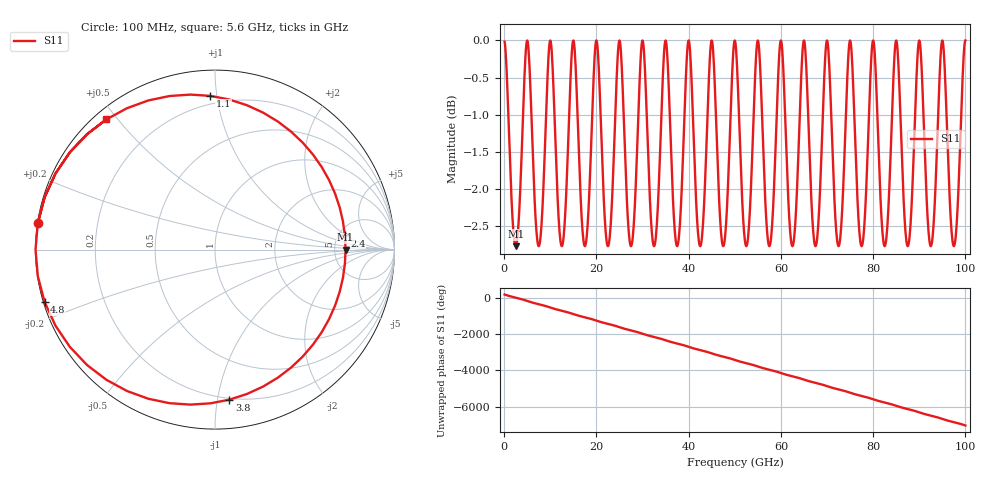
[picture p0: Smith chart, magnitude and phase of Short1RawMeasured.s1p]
! File created by SignalIntegrity v1.1.4: Signal and Power Integrity Tools
! https://github.com/TeledyneLeCroy/SignalIntegrity
# MHz MA S R 50.0
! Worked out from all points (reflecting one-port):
!   1000 points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, 100 MHz to 100 GHz, reference 50 ohm
!   lowest |S11| = -2.8 dB at 2.5 GHz (marker M1), VSWR 6.33, Z = 317 + j0 ohm
!   phase of S11 starts at 171 deg and turns -7191 deg over the sweep
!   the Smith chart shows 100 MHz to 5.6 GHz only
!   S11 on the Smith chart (normalised r, x): 100 MHz: 0.00, +0.07; 1.1 GHz: 0.15, +0.96; 2.4 GHz: 5.69, +1.91; 3.8 GHz: 0.19, -1.08; 4.8 GHz: 0.00, -0.15; 5.6 GHz: 0.03, +0.47
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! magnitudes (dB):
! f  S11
! 100 MHz  0.0
! 1.1 GHz  -1.3
! 2.4 GHz  -2.8
! 2.5 GHz  -2.8
! 3.8 GHz  -1.5
! 4.8 GHz  -0.1
! 5.6 GHz  -0.5
! 12.6 GHz  -2.8
! 14.9 GHz  0.0
! 17.5 GHz  -2.8
! 25.1 GHz  0.0
! 27.4 GHz  -2.8
! 30 GHz  0.0
! 37.6 GHz  -2.8
! 39.9 GHz  0.0
! 42.5 GHz  -2.8
! 50.1 GHz  0.0
! 52.4 GHz  -2.8
! 55 GHz  0.0
! 62.6 GHz  -2.8
! 64.9 GHz  0.0
! 75.1 GHz  0.0
! 77.4 GHz  -2.8
! 80 GHz  0.0
! 87.6 GHz  -2.8
! 90 GHz  0.0
! 97.6 GHz  -2.8
! 100 GHz  0.0
